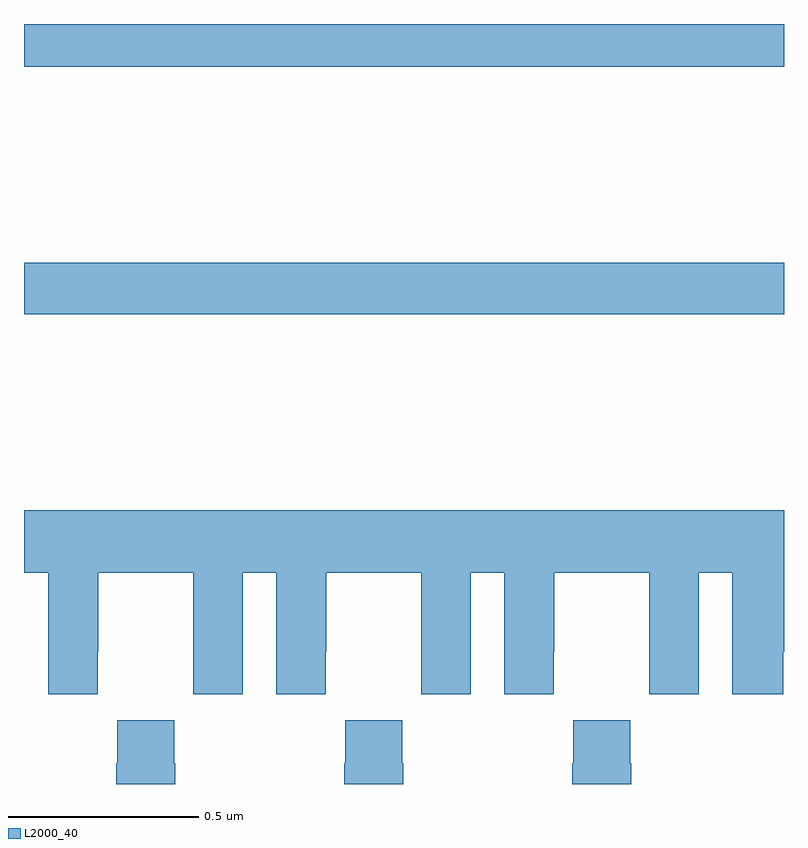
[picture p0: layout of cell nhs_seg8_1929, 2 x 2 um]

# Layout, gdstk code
import gdstk
lib = gdstk.Library(unit=1e-6, precision=1e-09)
def R(c, l, rs):  # rectangles x0, y0, x1, y1
    for r in rs: c.add(gdstk.rectangle(r[:2], r[2:], *l))
def P(c, l, *ps):  # polygons
    for p in ps: c.add(gdstk.Polygon(p, *l))
L2000_40 = (2000, 40)

nhs_seg8_1929 = lib.new_cell('nhs_seg8_1929')
R(nhs_seg8_1929, L2000_40, [(136,1161.136,138,1161.272), (136,1161.788,138,1161.9)])
P(nhs_seg8_1929, L2000_40, [(136.194,1160.248),(136.195,1160.248),(136.195,1160.456),(136.445,1160.456),(136.445,1160.248),(136.446,1160.248),(136.446,1160.136),(136.576,1160.136),(136.576,1160.456),(136.664,1160.456),(136.664,1160.136),(136.794,1160.136),(136.794,1160.248),(136.795,1160.248),(136.795,1160.456),(137.045,1160.456),(137.045,1160.248),(137.046,1160.248),(137.046,1160.136),(137.176,1160.136),(137.176,1160.456),(137.264,1160.456),(137.264,1160.136),(137.394,1160.136),(137.394,1160.248),(137.395,1160.248),(137.395,1160.456),(137.645,1160.456),(137.645,1160.248),(137.646,1160.248),(137.646,1160.136),(137.776,1160.136),(137.776,1160.456),(137.864,1160.456),(137.864,1160.136),(137.998,1160.136),(137.998,1160.248),(138,1160.248),(138,1160.62),(136,1160.62),(136,1160.456),(136.064,1160.456),(136.064,1160.136),(136.194,1160.136)],
  [(137.598,1159.955),(137.595,1159.955),(137.595,1160.068),(137.445,1160.068),(137.445,1159.955),(137.443,1159.955),(137.443,1159.9),(137.598,1159.9)],
  [(136.998,1159.955),(136.995,1159.955),(136.995,1160.068),(136.845,1160.068),(136.845,1159.955),(136.843,1159.955),(136.843,1159.9),(136.998,1159.9)],
  [(136.398,1159.955),(136.395,1159.955),(136.395,1160.068),(136.245,1160.068),(136.245,1159.955),(136.243,1159.955),(136.243,1159.9),(136.398,1159.9)])

lib.write_gds('nhs_seg8_1929.gds')
